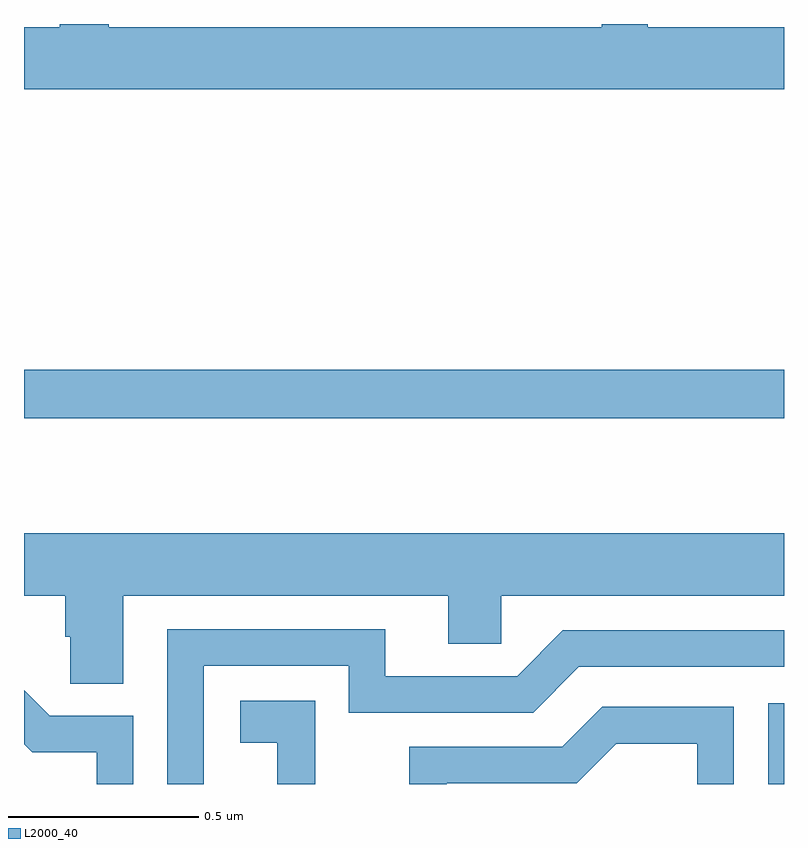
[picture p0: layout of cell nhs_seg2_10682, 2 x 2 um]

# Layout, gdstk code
import gdstk
lib = gdstk.Library(unit=1e-6, precision=1e-09)
def R(c, l, rs):  # rectangles x0, y0, x1, y1
    for r in rs: c.add(gdstk.rectangle(r[:2], r[2:], *l))
def P(c, l, *ps):  # polygons
    for p in ps: c.add(gdstk.Polygon(p, *l))
L2000_40 = (2000, 40)

nhs_seg2_10682 = lib.new_cell('nhs_seg2_10682')
R(nhs_seg2_10682, L2000_40, [(245.958,653.8,246,654.013), (244,654.762,246,654.89)])
P(nhs_seg2_10682, L2000_40, [(246,655.792),(245.641,655.792),(245.641,655.8),(245.52,655.8),(245.52,655.792),(244.223,655.792),(244.223,655.8),(244.094,655.8),(244.094,655.792),(244,655.792),(244,655.628),(246,655.628)],
  [(244.261,654.296),(245.117,654.296),(245.117,654.169),(245.256,654.169),(245.256,654.296),(246,654.296),(246,654.46),(244,654.46),(244,654.296),(244.109,654.296),(244.109,654.187),(244.122,654.187),(244.122,654.064),(244.261,654.064)],
  [(244.473,654.111),(244.854,654.111),(244.854,653.988),(245.34,653.988),(245.46,654.108),(246,654.108),(246,654.204),(245.418,654.204),(245.298,654.084),(244.951,654.084),(244.951,654.207),(244.377,654.207),(244.377,653.8),(244.473,653.8)],
  [(244.287,653.979),(244.068,653.979),(244,654.047),(244,653.905),(244.022,653.883),(244.191,653.883),(244.191,653.8),(244.287,653.8)],
  [(244.766,653.813),(244.767,653.813),(244.767,654.019),(244.569,654.019),(244.569,653.909),(244.667,653.909),(244.667,653.8),(244.766,653.8)],
  [(245.112,653.802),(245.454,653.802),(245.558,653.906),(245.772,653.906),(245.772,653.8),(245.868,653.8),(245.868,654.003),(245.522,654.003),(245.417,653.898),(245.014,653.898),(245.014,653.8),(245.112,653.8)])

lib.write_gds('nhs_seg2_10682.gds')
